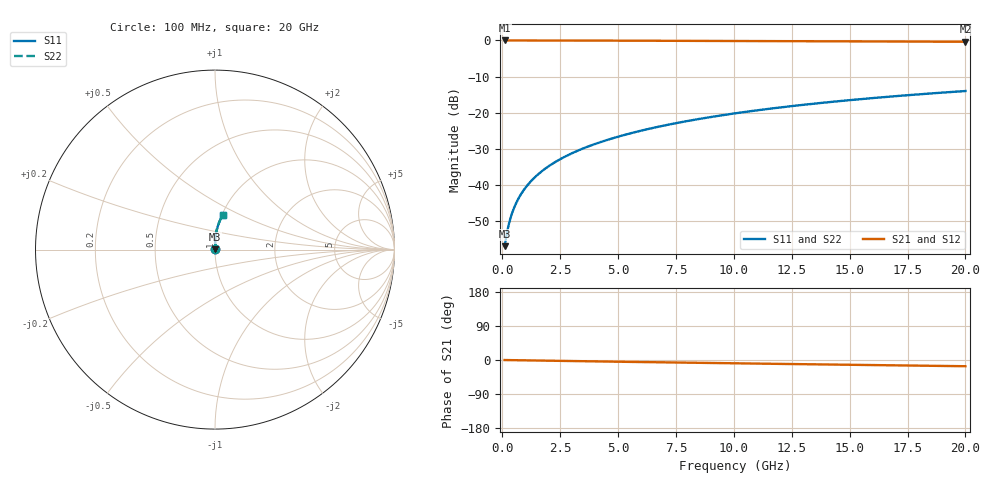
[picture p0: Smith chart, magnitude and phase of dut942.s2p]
! Touchstone file exported from HFSS 2024.1.0
!  File:  C:/UserFiles/LocalFiles/RDL_TSV_Batchsim/temp_RDL_bottom_942_1779941842.aedt
!  Generated:  12:19:53 PM May 28, 2026
!  Design:  RDL_bottom
!  Project:  temp_RDL_bottom_942_1779941842
!  Setup:  Setup1
!  Solution:  Sweep
! Variables:
!  dtsv = 10.80580581um
!  hbump = 3um
!  htsv = 95.89um
!  ldown = 170.01um
!  lrdl = 100um
!  p = 40
!  p1 = 59.97um
!  rhole = 1um
!  t = 450um
!  tdown = 3.29um
!  trdl = 3.915915916um
!  wdown = 22.06um
!  wrdl = 20um
# GHz S MA R 50.000000
! Terminal data exported
! Port[1] = RDL1_T1
! Port[2] = RDL1_T2
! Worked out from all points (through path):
!   200 points, 100 MHz to 20 GHz, reference 50 ohm
!   highest |S21| = -0.01 dB at 100 MHz (marker M1); lowest = -0.4 dB at 20 GHz (marker M2)
!   group delay of S21, straight-line fit = 2.26 ps
!   lowest |S11| = -56.8 dB at 100 MHz (marker M3), VSWR 1.00, Z = 50.1 + j0.0966 ohm
!   |S11| at or under -10 dB: start of sweep to end of sweep
!   |S22| runs from -56.8 to -14.0 dB; largest |S21 - S12| = 3e-15
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0.1  0.001439 42.0  0.9989 -0.1  0.9989 -0.1  0.001439 42.0
! Gamma 0 0 0 0
! Port Impedance 50 0 50 0
0.2  0.002206 60.0  0.9989 -0.2  0.9989 -0.2  0.002206 60.0
0.3  0.003056 68.0  0.9988 -0.3  0.9988 -0.3  0.003056 68.0
0.4  0.003925 72.5  0.9988 -0.4  0.9988 -0.4  0.003925 72.5
0.5  0.004798 75.5  0.9987 -0.5  0.9987 -0.5  0.004798 75.5
0.6  0.005676 77.6  0.9987 -0.6  0.9987 -0.6  0.005676 77.6
0.8  0.007443 80.4  0.9986 -0.8  0.9986 -0.8  0.007443 80.4
1.1  0.01012 82.9  0.9984 -1.0  0.9984 -1.0  0.01012 82.9
1.5  0.01372 84.8  0.9981 -1.4  0.9981 -1.4  0.01372 84.8
1.8  0.01645 85.8  0.9978 -1.7  0.9978 -1.7  0.01645 85.8
2.1  0.0192 86.4  0.9975 -2.0  0.9975 -2.0  0.0192 86.4
2.7  0.02475 87.3  0.9968 -2.5  0.9968 -2.5  0.02475 87.3
3.5  0.03229 87.9  0.9956 -3.2  0.9956 -3.2  0.03229 87.9
4.2  0.039 88.2  0.9944 -3.8  0.9944 -3.8  0.039 88.2
5  0.04681 88.2  0.9929 -4.5  0.9929 -4.5  0.04681 88.2
5.9  0.05575 88.1  0.9911 -5.3  0.9911 -5.3  0.05575 88.1
6.8  0.06483 87.8  0.9892 -6.1  0.9892 -6.1  0.06483 87.8
8.4  0.08123 86.9  0.9856 -7.4  0.9856 -7.4  0.08123 86.9
10.1  0.09887 85.7  0.9817 -8.8  0.9817 -8.8  0.09887 85.7
13.4  0.1332 83.0  0.9741 -11.4  0.9741 -11.4  0.1332 83.0
16.7  0.167 80.2  0.9663 -13.9  0.9663 -13.9  0.167 80.2
20  0.2 77.3  0.9581 -16.4  0.9581 -16.4  0.2 77.3
